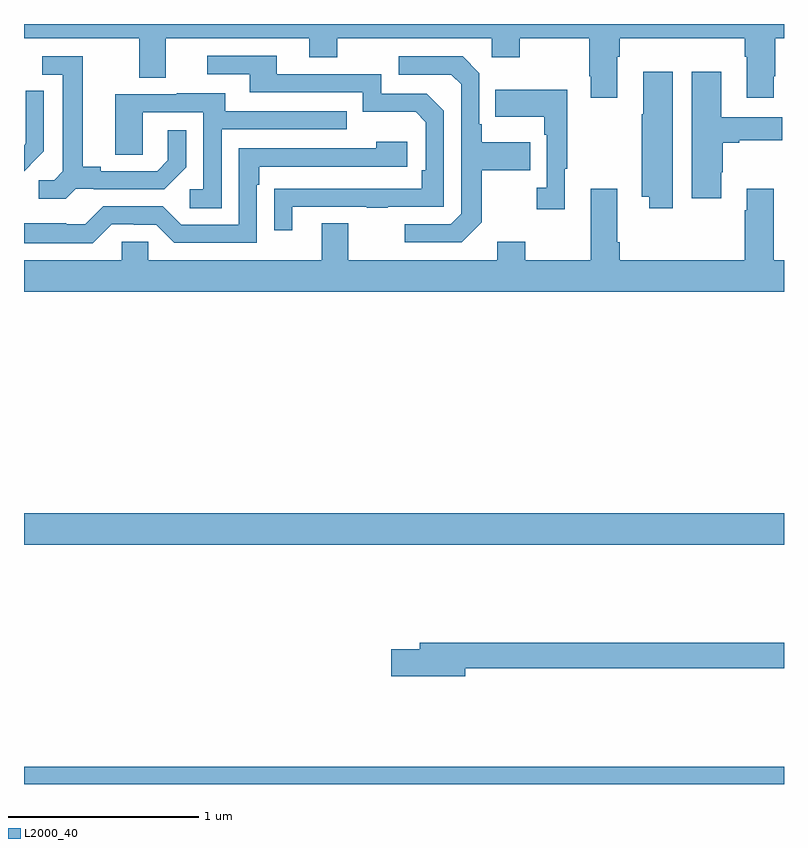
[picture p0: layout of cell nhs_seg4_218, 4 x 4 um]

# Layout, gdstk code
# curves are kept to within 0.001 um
import gdstk
lib = gdstk.Library(unit=1e-6, precision=1e-09)
def R(c, l, rs):  # rectangles x0, y0, x1, y1
    for r in rs: c.add(gdstk.rectangle(r[:2], r[2:], *l))
def P(c, l, *ps):  # polygons
    for p in ps: c.add(gdstk.Polygon(p, *l))
L2000_40 = (2000, 40)

nhs_seg4_218 = lib.new_cell('nhs_seg4_218')
R(nhs_seg4_218, L2000_40, [(121,788.9,125,788.992), (121,790.16,125,790.324)])
P(nhs_seg4_218, L2000_40, [(124.123,792.728),(124.136,792.728),(124.136,792.824),(124.793,792.824),(124.793,792.728),(124.805,792.728),(124.805,792.513),(124.945,792.513),(124.945,792.625),(124.953,792.625),(124.953,792.824),(125,792.824),(125,792.9),(121,792.9),(121,792.824),(121.607,792.824),(121.607,792.616),(121.747,792.616),(121.747,792.824),(122.501,792.824),(122.501,792.725),(122.649,792.725),(122.649,792.824),(123.462,792.824),(123.462,792.725),(123.609,792.725),(123.609,792.824),(123.976,792.824),(123.976,792.625),(123.983,792.625),(123.983,792.513),(124.123,792.513)],
  [(122.413,791.937),(122.803,791.937),(122.803,791.932),(122.915,791.932),(122.915,791.937),(123.21,791.937),(123.21,792.444),(123.12,792.534),(122.88,792.534),(122.88,792.636),(122.329,792.636),(122.329,792.732),(121.965,792.732),(121.965,792.636),(122.189,792.636),(122.189,792.54),(122.784,792.54),(122.784,792.437),(123.061,792.437),(123.114,792.384),(123.114,792.13),(123.094,792.13),(123.094,792.033),(122.317,792.032),(122.317,791.814),(122.413,791.814)],
  [(121.272,792.033),(121.366,792.033),(121.366,792.03),(121.738,792.03),(121.854,792.146),(121.854,792.34),(121.757,792.34),(121.757,792.183),(121.7,792.126),(121.405,792.126),(121.405,792.149),(121.309,792.149),(121.309,792.729),(121.095,792.729),(121.095,792.633),(121.205,792.633),(121.205,792.125),(121.158,792.078),(121.077,792.078),(121.077,791.981),(121.22,791.981)],
  [(123.409,791.857),(123.409,792.13),(123.665,792.13),(123.665,792.277),(123.409,792.277),(123.409,792.373),(123.396,792.373),(123.396,792.642),(123.309,792.729),(122.973,792.729),(122.973,792.633),(123.249,792.633),(123.3,792.582),(123.3,791.901),(123.246,791.847),(123.003,791.847),(123.003,791.751),(123.303,791.751)],
  [(124.414,792.649),(124.259,792.649),(124.259,792.425),(124.252,792.425),(124.252,791.99),(124.292,791.99),(124.292,791.931),(124.414,791.931)],
  [(124.669,792.121),(124.677,792.121),(124.677,792.275),(124.765,792.275),(124.765,792.287),(124.99,792.287),(124.99,792.409),(124.669,792.409),(124.669,792.649),(124.514,792.649),(124.514,791.982),(124.669,791.982)],
  [(123.847,792.137),(123.859,792.137),(123.859,792.553),(123.481,792.553),(123.481,792.413),(123.738,792.413),(123.738,792.317),(123.75,792.317),(123.75,792.038),(123.699,792.038),(123.699,791.925),(123.847,791.925)],
  [(121.032,792.156),(121.031,792.157),(121.104,792.23),(121.104,792.548),(121.008,792.548),(121.008,792.394),(121.01,792.394),(121.01,792.272),(121,792.262),(121,792.124)],
  [(122.04,792.345),(122.699,792.345),(122.699,792.441),(122.059,792.441),(122.059,792.535),(121.805,792.535),(121.805,792.531),(121.481,792.531),(121.481,792.211),(121.626,792.211),(121.626,792.435),(121.944,792.435),(121.944,792.03),(121.872,792.03),(121.872,791.929),(122.04,791.929)],
  [(121.461,791.847),(121.577,791.847),(121.577,791.844),(121.695,791.844),(121.791,791.748),(122.226,791.748),(122.226,792.053),(122.239,792.053),(122.239,792.15),(123.016,792.15),(123.016,792.28),(122.855,792.28),(122.855,792.246),(122.13,792.246),(122.13,791.844),(121.827,791.844),(121.731,791.94),(121.416,791.94),(121.323,791.847),(121.223,791.847),(121.223,791.851),(121,791.851),(121,791.747),(121.361,791.747)],
  [(125,791.656),(124.945,791.656),(124.945,792.034),(124.805,792.034),(124.805,791.921),(124.793,791.921),(124.793,791.656),(124.136,791.656),(124.136,791.752),(124.123,791.752),(124.123,792.034),(123.983,792.034),(123.983,791.656),(123.639,791.656),(123.639,791.755),(123.491,791.755),(123.491,791.656),(122.707,791.656),(122.707,791.851),(122.567,791.851),(122.567,791.656),(121.653,791.656),(121.653,791.754),(121.515,791.754),(121.515,791.656),(121,791.656),(121,791.492),(125,791.492)],
  [(123.322,789.508),(125,789.508),(125,789.644),(123.083,789.644),(123.083,789.608),(122.934,789.608),(122.934,789.466),(123.322,789.466)])

lib.write_gds('nhs_seg4_218.gds')
